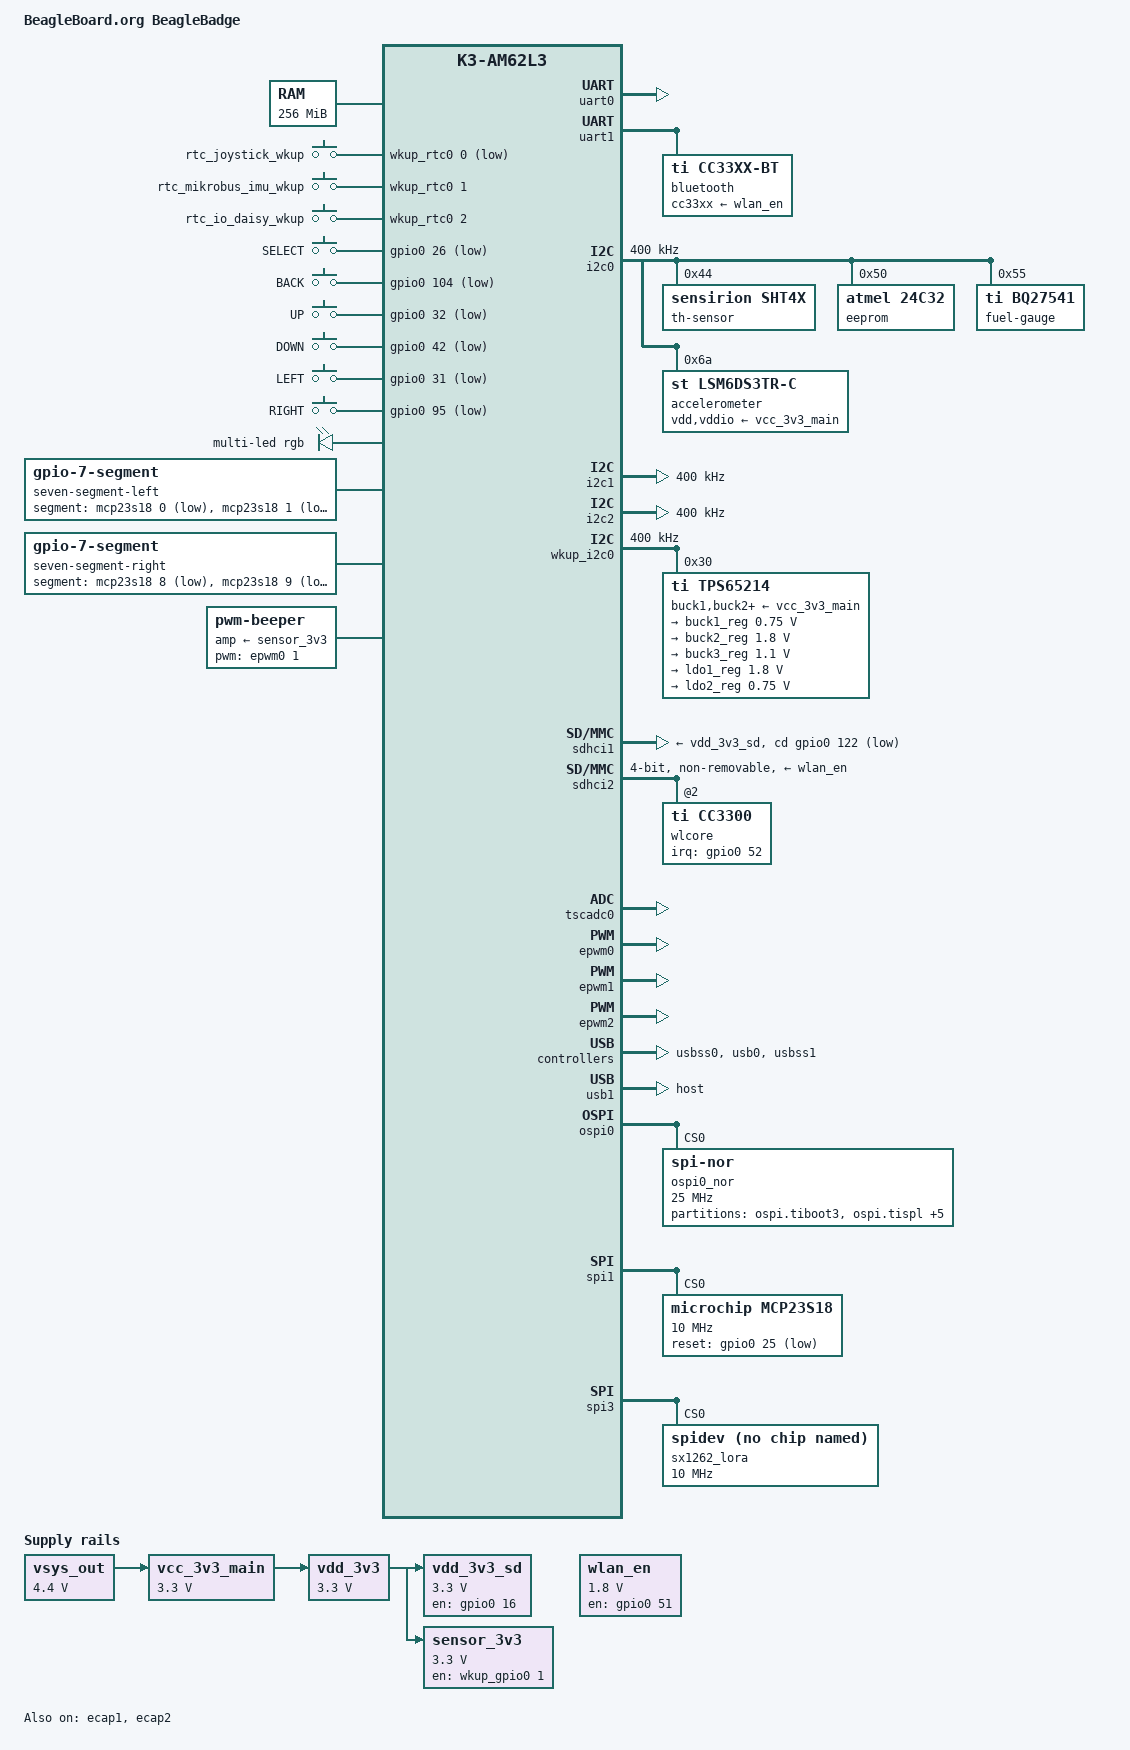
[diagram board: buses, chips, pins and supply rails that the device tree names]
// SPDX-License-Identifier: GPL-2.0-only or MIT
/*
 * https://www.beagleboard.org/boards/beaglebadge
 *
 * Copyright (C) 2026 Texas Instruments Incorporated - https://www.ti.com/
 */

/dts-v1/;

#include <dt-bindings/gpio/gpio.h>
#include <dt-bindings/input/input.h>
#include <dt-bindings/leds/common.h>
#include "k3-am62l3.dtsi"
#include "k3-pinctrl.h"

/ {
	compatible = "beagle,am62l3-beaglebadge", "ti,am62l3";
	model = "BeagleBoard.org BeagleBadge";

	chosen {
		stdout-path = "serial0:115200n8";
	};

	aliases {
		i2c0 = &i2c0;
		i2c1 = &i2c1;
		i2c2 = &i2c2;
		i2c4 = &wkup_i2c0;
		mmc1 = &sdhci1;
		serial0 = &uart0;
		serial1 = &uart1;
	};

	memory@80000000 {
		/* 256MB */
		reg = <0x00000000 0x80000000 0x00000000 0x10000000>;
		device_type = "memory";
		bootph-all;
	};

	thermal-zones {
		wkup0-thermal {
			polling-delay-passive = <250>;	/* milliSeconds */
			polling-delay = <500>;		/* milliSeconds */
			thermal-sensors = <&vtm0 0>;

			trips {
				crit0 {
					temperature = <125000>;
					hysteresis = <2000>;
					type = "critical";
				};
			};
		};
	};

	/* RTC GPIO 0 - Connected to joystick */
	rtc_gpio0 {
		compatible = "gpio-keys";
		button-rtc0 {
			label = "rtc_joystick_wkup";
			wakeup-source;
			linux,code = <KEY_WAKEUP>;
			gpios = <&wkup_rtc0 0 GPIO_ACTIVE_LOW>;
		};
	};

	/* RTC GPIO 1 - Connected to Mikrobus and IMU sensor */
	rtc_gpio1 {
		compatible = "gpio-keys";
		button-rtc1 {
			label = "rtc_mikrobus_imu_wkup";
			wakeup-source;
			linux,code = <KEY_WAKEUP>;
			gpios = <&wkup_rtc0 1 GPIO_ACTIVE_HIGH>;
		};
	};

	/* RTC GPIO 2 - Connected to wkup io daisy chain */
	rtc_gpio2 {
		compatible = "gpio-keys";
		button-rtc2 {
			label = "rtc_io_daisy_wkup";
			wakeup-source;
			linux,code = <KEY_WAKEUP>;
			gpios = <&wkup_rtc0 2 GPIO_ACTIVE_HIGH>;
		};
	};

	gpio_keys: gpio-keys {
		compatible = "gpio-keys";
		autorepeat;

		button-select {
			label = "SELECT";
			linux,code = <KEY_SELECT>;
			gpios = <&gpio0 26 GPIO_ACTIVE_LOW>;
		};

		button-back {
			label = "BACK";
			linux,code = <KEY_BACK>;
			gpios = <&gpio0 104 GPIO_ACTIVE_LOW>;
		};

		button-up {
			label = "UP";
			linux,code = <KEY_UP>;
			gpios = <&gpio0 32 GPIO_ACTIVE_LOW>;
		};

		button-down {
			label = "DOWN";
			linux,code = <KEY_DOWN>;
			gpios = <&gpio0 42 GPIO_ACTIVE_LOW>;
		};

		button-left {
			label = "LEFT";
			linux,code = <KEY_LEFT>;
			gpios = <&gpio0 31 GPIO_ACTIVE_LOW>;
		};

		button-right {
			label = "RIGHT";
			linux,code = <KEY_RIGHT>;
			gpios = <&gpio0 95 GPIO_ACTIVE_LOW>;
		};
	};

	multicolor-led {
		compatible = "pwm-leds-multicolor";

		multi-led {
			color = <LED_COLOR_ID_RGB>;
			max-brightness = <255>;

			led-red {
				pwms = <&ecap2 0 10000000 0>;
				color = <LED_COLOR_ID_RED>;
			};

			led-green {
				pwms = <&ecap1 0 10000000 0>;
				color = <LED_COLOR_ID_GREEN>;
			};

			led-blue {
				pwms = <&epwm1 1 10000000 0>;
				color = <LED_COLOR_ID_BLUE>;
			};
		};
	};

	seven-segment-left {
		compatible = "gpio-7-segment";
		segment-gpios = <&mcp23s18 0 GPIO_ACTIVE_LOW>,
				<&mcp23s18 1 GPIO_ACTIVE_LOW>,
				<&mcp23s18 2 GPIO_ACTIVE_LOW>,
				<&mcp23s18 3 GPIO_ACTIVE_LOW>,
				<&mcp23s18 4 GPIO_ACTIVE_LOW>,
				<&mcp23s18 5 GPIO_ACTIVE_LOW>,
				<&mcp23s18 6 GPIO_ACTIVE_LOW>,
				<&mcp23s18 7 GPIO_ACTIVE_LOW>;
	};

	seven-segment-right {
		compatible = "gpio-7-segment";
		segment-gpios = <&mcp23s18 8 GPIO_ACTIVE_LOW>,
				<&mcp23s18 9 GPIO_ACTIVE_LOW>,
				<&mcp23s18 10 GPIO_ACTIVE_LOW>,
				<&mcp23s18 11 GPIO_ACTIVE_LOW>,
				<&mcp23s18 12 GPIO_ACTIVE_LOW>,
				<&mcp23s18 13 GPIO_ACTIVE_LOW>,
				<&mcp23s18 14 GPIO_ACTIVE_LOW>,
				<&mcp23s18 15 GPIO_ACTIVE_LOW>;
	};

	pwm-beeper {
		compatible = "pwm-beeper";
		pwms = <&epwm0 1 1000000 0>;
		amp-supply = <&sensor_3v3>;
	};

	vsys_out: regulator-0 {
		/* output of BQ24070 */
		compatible = "regulator-fixed";
		regulator-name = "VSYS_OUT";
		regulator-min-microvolt = <4400000>;
		regulator-max-microvolt = <4400000>;
		regulator-always-on;
		regulator-boot-on;
		bootph-all;
	};

	vcc_3v3_main: regulator-1 {
		/* output of TPS62A06 */
		compatible = "regulator-fixed";
		regulator-name = "VCC_3V3_MAIN";
		regulator-min-microvolt = <3300000>;
		regulator-max-microvolt = <3300000>;
		vin-supply = <&vsys_out>;
		regulator-always-on;
		regulator-boot-on;
		bootph-all;
	};

	vdd_3v3: regulator-2 {
		/* output of TPS22965 */
		compatible = "regulator-fixed";
		regulator-name = "VDD_3V3";
		regulator-min-microvolt = <3300000>;
		regulator-max-microvolt = <3300000>;
		vin-supply = <&vcc_3v3_main>;
		regulator-always-on;
		regulator-boot-on;
		bootph-all;
	};

	vdd_3v3_sd: regulator-3 {
		/* TPS22918DBVR */
		compatible = "regulator-fixed";
		regulator-name = "VDD_3V3_SD";
		regulator-min-microvolt = <3300000>;
		regulator-max-microvolt = <3300000>;
		vin-supply = <&vdd_3v3>;
		regulator-boot-on;
		enable-active-high;
		gpios = <&gpio0 16 GPIO_ACTIVE_HIGH>;
		pinctrl-names = "default";
		pinctrl-0 = <&vdd_3v3_sd_ena_pins_default>;
		bootph-all;
	};

	sensor_3v3: regulator-4 {
		/* TPS22918DBVR */
		compatible = "regulator-fixed";
		regulator-name = "Sensor_3V3";
		regulator-min-microvolt = <3300000>;
		regulator-max-microvolt = <3300000>;
		vin-supply = <&vdd_3v3>;
		regulator-boot-on;
		enable-active-high;
		gpios = <&wkup_gpio0 1 GPIO_ACTIVE_HIGH>;
		pinctrl-names = "default";
		pinctrl-0 = <&sensor_3v3_ena_pins_default>;
		bootph-all;
	};

	wlan_en: regulator-5 {
		compatible = "regulator-fixed";
		regulator-name = "wlan_en";
		regulator-min-microvolt = <1800000>;
		regulator-max-microvolt = <1800000>;
		enable-active-high;
		gpios = <&gpio0 51 GPIO_ACTIVE_HIGH>;
		pinctrl-names = "default";
		pinctrl-0 = <&wlan_en_pins_default>;
	};
};

&pmx0 {
	uart0_pins_default: uart0-default-pins {
		pinctrl-single,pins = <
			AM62LX_IOPAD(0x01b8, PIN_OUTPUT, 0) /* (C13) UART0_TXD */
			AM62LX_IOPAD(0x01b4, PIN_INPUT, 0) /* (D13) UART0_RXD */
		>;
		bootph-all;
	};

	uart0_pins_wakeup: uart0-wakeup-pins {
		pinctrl-single,pins = <
			AM62LX_IOPAD(0x01b8, PIN_OUTPUT, 0) /* (C13) UART0_TXD */
			AM62LX_IOPAD(0x01b4, PIN_INPUT | PIN_WKUP_EN, 0) /* (D13) UART0_RXD */
		>;
		bootph-all;
	};

	uart1_pins_default: uart1-default-pins {
		pinctrl-single,pins = <
			AM62LX_IOPAD(0x019c, PIN_OUTPUT, 2) /* (A12) MCASP0_ACLKR.UART1_TXD */
			AM62LX_IOPAD(0x0198, PIN_INPUT, 2) /* (C11) MCASP0_AFSR.UART1_RXD */
			AM62LX_IOPAD(0x0180, PIN_INPUT, 2) /* (A8) MCASP0_AXR3.UART1_CTSn */
			AM62LX_IOPAD(0x0184, PIN_OUTPUT, 2) /* (B10) MCASP0_AXR2.UART1_RTSn */
		>;
		bootph-all;
	};

	usr_button_pins_default: usr-button-default-pins {
		pinctrl-single,pins = <
			AM62LX_IOPAD(0x00a4, PIN_INPUT, 7) /* (H18) GPMC0_AD11.GPIO0_26 */
			AM62LX_IOPAD(0x01e4, PIN_INPUT, 7) /* (D16) EXT_REFCLK1.GPIO0_104 */
			AM62LX_IOPAD(0x00c0, PIN_INPUT, 7) /* (N19) GPMC0_ADVn_ALE.GPIO0_32 */
			AM62LX_IOPAD(0x00e8, PIN_INPUT, 7) /* (L19) GPMC0_CSn1.GPIO0_42 */
			AM62LX_IOPAD(0x00b8, PIN_INPUT, 7) /* (L21) GPMC0_CLK.GPIO0_31 */
			AM62LX_IOPAD(0x01c0, PIN_INPUT, 7) /* (B13) UART0_RTSn.GPIO0_95 */
		>;
		bootph-all;
	};

	i2c0_pins_default: i2c0-default-pins {
		pinctrl-single,pins = <
			AM62LX_IOPAD(0x01cc, PIN_INPUT_PULLUP, 0) /* (B7) I2C0_SCL */
			AM62LX_IOPAD(0x01d0, PIN_INPUT_PULLUP, 0) /* (A7) I2C0_SDA */
		>;
		bootph-all;
	};

	i2c1_pins_default: i2c1-default-pins {
		pinctrl-single,pins = <
			AM62LX_IOPAD(0x01d4, PIN_INPUT_PULLUP, 0) /* (D7) I2C1_SCL */
			AM62LX_IOPAD(0x01d8, PIN_INPUT_PULLUP, 0) /* (A6) I2C1_SDA */
		>;
		bootph-all;
	};

	i2c2_qwiic_pins_default: i2c2-qwiic-default-pins {
		pinctrl-single,pins = <
			AM62LX_IOPAD(0x01dc, PIN_INPUT_PULLUP, 0) /* (B8) I2C2_SCL */
			AM62LX_IOPAD(0x01e0, PIN_INPUT_PULLUP, 0) /* (D8) I2C2_SDA */
		>;
		bootph-all;
	};

	vdd_3v3_sd_ena_pins_default: vdd-3v3-sd-ena-default-pins {
		pinctrl-single,pins = <
			AM62LX_IOPAD(0x07c, PIN_OUTPUT, 7) /* (L23) GPMC0_AD1.GPIO0_16 */
		>;
		bootph-all;
	};

	sensor_3v3_ena_pins_default: sensor-3v3-ena-default-pins {
		pinctrl-single,pins = <
			AM62LX_IOPAD(0x004, PIN_OUTPUT, 7) /* (AA23) WKUP_UART0_TXD.WKUP_GPIO0_1 */
		>;
		bootph-all;
	};

	mmc1_pins_default: mmc1-default-pins {
		pinctrl-single,pins = <
			AM62LX_IOPAD(0x0230, PIN_INPUT, 0) /* (Y3) MMC1_CMD */
			AM62LX_IOPAD(0x0228, PIN_OUTPUT, 0) /* (Y2) MMC1_CLK */
			AM62LX_IOPAD(0x0224, PIN_INPUT, 0) /* (AA1) MMC1_DAT0 */
			AM62LX_IOPAD(0x0220, PIN_INPUT, 0) /* (Y4) MMC1_DAT1 */
			AM62LX_IOPAD(0x021c, PIN_INPUT, 0) /* (AA2) MMC1_DAT2 */
			AM62LX_IOPAD(0x0218, PIN_INPUT, 0) /* (AB2) MMC1_DAT3 */
			AM62LX_IOPAD(0x0234, PIN_INPUT, 7) /* (B6) MMC1_SDCD.GPIO0_122 */
		>;
		bootph-all;
	};

	mmc2_pins_default: mmc2-default-pins {
		pinctrl-single,pins = <
			AM62LX_IOPAD(0x010c, PIN_INPUT, 0) /* (U23) MMC2_CMD */
			AM62LX_IOPAD(0x0104, PIN_OUTPUT, 0) /* (R23) MMC2_CLK */
			AM62LX_IOPAD(0x0108, PIN_INPUT, 0) /* () MMC2_CLKLB */
			AM62LX_IOPAD(0x0100, PIN_INPUT, 0) /* (U22) MMC2_DAT0 */
			AM62LX_IOPAD(0x00fc, PIN_INPUT, 0) /* (T22) MMC2_DAT1 */
			AM62LX_IOPAD(0x00f8, PIN_INPUT, 0) /* (T23) MMC2_DAT2 */
			AM62LX_IOPAD(0x00f4, PIN_INPUT, 0) /* (R22) MMC2_DAT3 */
		>;
	};

	wlan_en_pins_default: wlan-en-default-pins {
		pinctrl-single,pins = <
			AM62LX_IOPAD(0x0110, PIN_OUTPUT, 7) /* (T20) MMC2_SDCD.GPIO0_51 */
		>;
	};

	wlirq_pins_default: wlirq-default-pins {
		pinctrl-single,pins = <
			AM62LX_IOPAD(0x0114, PIN_INPUT, 7) /* (T21) MMC2_SDWP.GPIO0_52 */
		>;
	};

	usb1_pins_default: usb1-default-pins {
		pinctrl-single,pins = <
			AM62LX_IOPAD(0x0248, PIN_INPUT | PIN_DS_PULLUD_ENABLE |
				PIN_DS_PULL_UP, 0) /* (A5) USB1_DRVVBUS */
		>;
		bootph-all;
	};

	pwm_beeper_pins_default: pwm-beeper-default-pins {
		pinctrl-single,pins = <
			AM62LX_IOPAD(0x00b0, PIN_OUTPUT, 4) /* (F22) GPMC0_AD14.EHRPWM0_B */
		>;
	};

	pmic_irq_pins_default: pmic-irq-default-pins {
		pinctrl-single,pins = <
			AM62LX_IOPAD(0x01e8, PIN_INPUT, 0) /* (C8) EXTINTn */
		>;
		bootph-all;
	};

	wkup_i2c0_pins_default: wkup-i2c0-default-pins {
		pinctrl-single,pins = <
			AM62LX_IOPAD(0x0010, PIN_INPUT_PULLUP, 0) /* (AB22) WKUP_I2C0_SCL */
			AM62LX_IOPAD(0x0014, PIN_INPUT_PULLUP, 0) /* (AA22) WKUP_I2C0_SDA */
		>;
		bootph-all;
	};

	rgb_led_ecap2_pins_default: rgb-led-ecap2-default-pins {
		pinctrl-single,pins = <
			AM62LX_IOPAD(0x0190, PIN_OUTPUT, 2) /* (A11) MCASP0_ACLKX.ECAP2_IN_APWM_OUT */
		>;
	};

	rgb_led_ecap1_pins_default: rgb-led-ecap1-default-pins {
		pinctrl-single,pins = <
			AM62LX_IOPAD(0x0188, PIN_OUTPUT, 2) /* (A9) MCASP0_AXR1.ECAP1_IN_APWM_OUT */
		>;
	};

	rgb_led_epwm1_pins_default: rgb-led-epwm1-default-pins {
		pinctrl-single,pins = <
			AM62LX_IOPAD(0x018c, PIN_OUTPUT, 5) /* (B9) MCASP0_AXR0.EHRPWM1_B */
		>;
	};

	ospi0_pins_default: ospi0-default-pins {
		bootph-all;
		pinctrl-single,pins = <
			AM62LX_IOPAD(0x003c, PIN_OUTPUT, 0) /* (D22) OSPI0_CLK */
			AM62LX_IOPAD(0x0068, PIN_OUTPUT, 0) /* (C20) OSPI0_CSn0 */
			AM62LX_IOPAD(0x0074, PIN_OUTPUT, 0) /* (C23) OSPI0_CSn3 */
			AM62LX_IOPAD(0x0048, PIN_INPUT, 0) /* (C22) OSPI0_D0 */
			AM62LX_IOPAD(0x004c, PIN_INPUT, 0) /* (D21) OSPI0_D1 */
			AM62LX_IOPAD(0x0050, PIN_INPUT, 0) /* (E23) OSPI0_D2 */
			AM62LX_IOPAD(0x0054, PIN_INPUT, 0) /* (D23) OSPI0_D3 */
			AM62LX_IOPAD(0x0058, PIN_INPUT, 0) /* (F21) OSPI0_D4 */
			AM62LX_IOPAD(0x005c, PIN_INPUT, 0) /* (F19) OSPI0_D5 */
			AM62LX_IOPAD(0x0060, PIN_INPUT, 0) /* (G20) OSPI0_D6 */
			AM62LX_IOPAD(0x0064, PIN_INPUT, 0) /* (F20) OSPI0_D7 */
			AM62LX_IOPAD(0x0044, PIN_INPUT, 0) /* (E22) OSPI0_DQS */
			AM62LX_IOPAD(0x0040, PIN_INPUT, 0) /* (E18) OSPI0_LBCLKO */
		>;
	};

	spi1_pins_default: spi1-default-pins {
		pinctrl-single,pins = <
			AM62LX_IOPAD(0x008c, PIN_OUTPUT, 4) /* (H22) GPMC0_AD5.SPI1_CLK */
			AM62LX_IOPAD(0x0088, PIN_OUTPUT, 4) /* (K23) GPMC0_AD4.SPI1_CS0 */
			AM62LX_IOPAD(0x0080, PIN_INPUT, 4) /* (K22) GPMC0_AD2.SPI1_D0 */
			AM62LX_IOPAD(0x0084, PIN_OUTPUT, 4) /* (J23) GPMC0_AD3.SPI1_D1 */
		>;
		bootph-all;
	};

	spi3_pins_default: spi3-default-pins {
		pinctrl-single,pins = <
			AM62LX_IOPAD(0x00d0, PIN_OUTPUT, 5) /* (P22) GPMC0_BE1n.SPI3_CLK */
			AM62LX_IOPAD(0x00cc, PIN_OUTPUT, 5) /* (P23) GPMC0_BE0n_CLE.SPI3_CS0 */
			AM62LX_IOPAD(0x00d4, PIN_INPUT, 5) /* (N23) GPMC0_WAIT0.SPI3_D0 */
			AM62LX_IOPAD(0x00d8, PIN_OUTPUT, 5) /* (N22) GPMC0_WAIT1.SPI3_D1 */
		>;
	};

	mcp23s18_reset_pins_default: mcp23s18-reset-default-pins {
		pinctrl-single,pins = <
			AM62LX_IOPAD(0x00a0, PIN_OUTPUT, 7) /* (H21) GPMC0_AD10.GPIO0_25 */
		>;
	};

	epwm2_pins_default: epwm2-default-pins {
		pinctrl-single,pins = <
			AM62LX_IOPAD(0x00c4, PIN_OUTPUT, 4) /* (N20) GPMC0_OEn_REn.EHRPWM2_A */
		>;
	};

	lora_control_pins_default: lora-control-default-pins {
		pinctrl-single,pins = <
			AM62LX_IOPAD(0x00c8, PIN_OUTPUT, 7) /* (M19) GPMC0_WEn.GPIO0_34 */
			AM62LX_IOPAD(0x00e4, PIN_OUTPUT, 7) /* (L20) GPMC0_CSn0.GPIO0_41 */
			AM62LX_IOPAD(0x01a4, PIN_INPUT, 7) /* (D11) SPI0_CS1.GPIO0_88 */
			AM62LX_IOPAD(0x01bc, PIN_INPUT, 7) /* (B14) UART0_CTSn.GPIO0_94 */
		>;
		bootph-all;
	};

	gpio0_pins_default: gpio0-default-pins {
		pinctrl-single,pins = <
			AM62LX_IOPAD(0x0078, PIN_OUTPUT, 7) /* (L22) GPMC0_AD0.GPIO0_15 */
			AM62LX_IOPAD(0x00e0, PIN_INPUT, 7) /* (M21) GPMC0_DIR.GPIO0_40 */
			AM62LX_IOPAD(0x00ec, PIN_OUTPUT, 7) /* (M23) GPMC0_CSn2.GPIO0_43 */
			AM62LX_IOPAD(0x00f0, PIN_INPUT, 7) /* (M22) GPMC0_CSn3.GPIO0_44 */
			AM62LX_IOPAD(0x0194, PIN_OUTPUT, 7) /* (B11) MCASP0_AFSX.GPIO0_84 */
		>;
		bootph-all;
	};
};

&uart0 {
	wakeup-source;
	pinctrl-0 = <&uart0_pins_default>;
	pinctrl-1 = <&uart0_pins_wakeup>;
	pinctrl-names = "default", "wakeup";
	bootph-all;
	status = "okay";
};

&uart1 {
	pinctrl-names = "default";
	pinctrl-0 = <&uart1_pins_default>;
	bootph-all;
	status = "okay";

	bluetooth {
		compatible = "ti,cc33xx-bt";
		max-speed = <115200>;
		cc33xx-supply = <&wlan_en>;
	};
};

&i2c0 {
	clock-frequency = <400000>;
	pinctrl-names = "default";
	pinctrl-0 = <&i2c0_pins_default>;
	bootph-all;
	status = "okay";

	/* T&H Sensor */
	th-sensor@44 {
		compatible = "sensirion,sht4x";
		reg = <0x44>;
	};

	/* EEPROM */
	eeprom@50 {
		/* FT24C32A-ELRT */
		compatible = "atmel,24c32";
		reg = <0x50>;
	};

	/* Fuel Gauge */
	fuel-gauge@55 {
		compatible = "ti,bq27541";
		reg = <0x55>;
	};

	/* IMU Sensor */
	accelerometer@6a {
		compatible = "st,lsm6ds3tr-c";
		reg = <0x6a>;
		vdd-supply = <&vcc_3v3_main>;
		vddio-supply = <&vcc_3v3_main>;
	};
};

&i2c1 {
	clock-frequency = <400000>;
	pinctrl-names = "default";
	pinctrl-0 = <&i2c1_pins_default>;
	bootph-all;
	status = "okay";
};

&i2c2 {
	clock-frequency = <400000>;
	pinctrl-names = "default";
	pinctrl-0 = <&i2c2_qwiic_pins_default>;
	bootph-all;
	status = "okay";
};

&wkup_i2c0 {
	clock-frequency = <400000>;
	pinctrl-names = "default";
	pinctrl-0 = <&wkup_i2c0_pins_default>;
	bootph-all;
	status = "okay";

	tps65214: pmic@30 {
		compatible = "ti,tps65214";
		reg = <0x30>;
		interrupt-parent = <&gic500>;
		interrupts = <GIC_SPI 224 IRQ_TYPE_LEVEL_HIGH>;
		buck1-supply = <&vcc_3v3_main>;
		buck2-supply = <&vcc_3v3_main>;
		buck3-supply = <&vcc_3v3_main>;
		ldo1-supply = <&vcc_3v3_main>;
		ldo2-supply = <&vcc_3v3_main>;
		pinctrl-names = "default";
		pinctrl-0 = <&pmic_irq_pins_default>;
		ti,power-button;
		bootph-all;

		regulators {
			buck1_reg: buck1 {
				regulator-name = "VDD_CORE";
				regulator-min-microvolt = <750000>;
				regulator-max-microvolt = <750000>;
				regulator-always-on;
				regulator-boot-on;
			};

			buck2_reg: buck2 {
				regulator-name = "VDD_1V8";
				regulator-min-microvolt = <1800000>;
				regulator-max-microvolt = <1800000>;
				regulator-always-on;
				regulator-boot-on;
			};

			buck3_reg: buck3 {
				regulator-name = "VDD_LPDDR4";
				regulator-min-microvolt = <1100000>;
				regulator-max-microvolt = <1100000>;
				regulator-always-on;
				regulator-boot-on;
			};

			ldo1_reg: ldo1 {
				regulator-name = "VDDA_1V8";
				regulator-min-microvolt = <1800000>;
				regulator-max-microvolt = <1800000>;
				regulator-always-on;
				regulator-boot-on;
			};

			ldo2_reg: ldo2 {
				regulator-name = "PMIC_VDD_RTC";
				regulator-min-microvolt = <750000>;
				regulator-max-microvolt = <750000>;
				regulator-always-on;
				regulator-boot-on;
			};
		};
	};
};

&gpio0 {
	gpio-line-names = "","","","","","","","","","",	/* 0-9 */
			 "","","","","","BOOST_5V_ENA","VDD_3V3_SD_ENA","","","",	/* 10-19 */
			 "","","","","","MCP23S18_RESET","BTN_SELECT","","","",	/* 20-29 */
			 "","BTN_LEFT","BTN_UP","","LORA_RESET","","","","","",	/* 30-39 */
			 "GAUGE_BATLOW","LORA_RFSW","BTN_DOWN","USB_RST","MBUS_INT","","","","","",	/* 40-49 */
			 "","WLAN_EN","","","","","","","","",	/* 50-59 */
			 "","","","","","","","","","",	/* 60-69 */
			 "","","","","","","","","","",	/* 70-79 */
			 "","","","","MBUS_RST","","","","LORA_BUSY","",	/* 80-89 */
			 "","","","","LORA_DIO","BTN_RIGHT","","","","",	/* 90-99 */
			 "","","","","BTN_BACK","","","","","",	/* 100-109 */
			 "","","","","","","","","","",	/* 110-119 */
			 "","","SD_CD","","","";	/* 120-125 */
	pinctrl-names = "default";
	pinctrl-0 = <&gpio0_pins_default>, <&usr_button_pins_default>, <&lora_control_pins_default>;
	bootph-all;
	status = "okay";
};

&wkup_gpio0 {
	gpio-line-names = "","SENSOR_3V3_ENA","","","","","","";	/* 0-7 */
	bootph-all;
	status = "okay";
};

&sdhci1 {
	/* SD/MMC */
	vmmc-supply = <&vdd_3v3_sd>;
	disable-wp;
	cd-gpios = <&gpio0 122 GPIO_ACTIVE_LOW>;
	cd-debounce-delay-ms = <100>;
	ti,fails-without-test-cd;
	pinctrl-names = "default";
	pinctrl-0 = <&mmc1_pins_default>;
	bootph-all;
	status = "okay";
};

&sdhci2 {
	#address-cells = <1>;
	#size-cells = <0>;
	vmmc-supply = <&wlan_en>;
	bus-width = <4>;
	non-removable;
	cap-power-off-card;
	keep-power-in-suspend;
	pinctrl-names = "default";
	pinctrl-0 = <&mmc2_pins_default>;
	ti,driver-strength-ohm = <50>;
	status = "okay";

	wlcore: wlcore@2 {
		compatible = "ti,cc3300";
		reg = <2>;
		interrupt-parent = <&gpio0>;
		interrupts = <52 IRQ_TYPE_EDGE_RISING>;
		pinctrl-names = "default";
		pinctrl-0 = <&wlirq_pins_default>;
	};
};

&tscadc0 {
	status = "okay";

	adc {
	ti,adc-channels = <0 /* V20 (Battery) */
			   1 /* V22 (MikroBus) */
			   2 /* V23 (Light Sensor) */
			   3 /* V21 (J28 Header) */
			   >;
	};
};

&epwm0 {
	pinctrl-names = "default";
	pinctrl-0 = <&pwm_beeper_pins_default>;
	status = "okay";
};

&epwm1 {
	pinctrl-names = "default";
	pinctrl-0 = <&rgb_led_epwm1_pins_default>;
	status = "okay";
};

&epwm2 {
	pinctrl-names = "default";
	pinctrl-0 = <&epwm2_pins_default>;
	status = "okay";
};

&ecap1 {
	pinctrl-names = "default";
	pinctrl-0 = <&rgb_led_ecap1_pins_default>;
	status = "okay";
};

&ecap2 {
	pinctrl-names = "default";
	pinctrl-0 = <&rgb_led_ecap2_pins_default>;
	status = "okay";
};

&usbss0 {
	ti,vbus-divider;
	status = "okay";
};

&usb0 {
	usb-role-switch;
	bootph-all;
	status = "okay";
};

&usbss1 {
	ti,vbus-divider;
	bootph-all;
	status = "okay";
};

&usb1 {
	dr_mode = "host";
	pinctrl-names = "default";
	pinctrl-0 = <&usb1_pins_default>;
	bootph-all;
	status = "okay";
};

&ospi0 {
	pinctrl-names = "default";
	pinctrl-0 = <&ospi0_pins_default>;
	bootph-all;
	status = "okay";

	ospi0_nor: flash@0 {
		compatible = "jedec,spi-nor";
		reg = <0x0>;
		spi-tx-bus-width = <8>;
		spi-rx-bus-width = <8>;
		spi-max-frequency = <25000000>;
		cdns,tshsl-ns = <60>;
		cdns,tsd2d-ns = <60>;
		cdns,tchsh-ns = <60>;
		cdns,tslch-ns = <60>;
		cdns,read-delay = <4>;
		cdns,phy-mode;
		bootph-all;

		partitions {
			compatible = "fixed-partitions";
			#address-cells = <1>;
			#size-cells = <1>;
			bootph-all;

			partition@0 {
				label = "ospi.tiboot3";
				reg = <0x0 0x80000>;
			};

			partition@80000 {
				label = "ospi.tispl";
				reg = <0x80000 0x200000>;
			};

			partition@280000 {
				label = "ospi.u-boot";
				reg = <0x280000 0x400000>;
			};

			partition@680000 {
				label = "ospi.env";
				reg = <0x680000 0x40000>;
			};

			partition@6c0000 {
				label = "ospi.env.backup";
				reg = <0x6c0000 0x40000>;
			};

			partition@800000 {
				label = "ospi.rootfs";
				/* Limited to 20 MB */
				reg = <0x700000 0x18c0000>;
			};

			partition@3fc0000 {
				bootph-all;
				label = "ospi.phypattern";
				reg = <0x1fc0000 0x40000>;
			};
		};
	};
};

&spi1 {
	pinctrl-names = "default";
	pinctrl-0 = <&spi1_pins_default>;
	status = "okay";

	mcp23s18: gpio@0 {
		compatible = "microchip,mcp23s18";
		reg = <0>;
		spi-max-frequency = <10000000>;
		gpio-controller;
		#gpio-cells = <2>;
		reset-gpios = <&gpio0 25 GPIO_ACTIVE_LOW>;
		pinctrl-names = "default";
		pinctrl-0 = <&mcp23s18_reset_pins_default>;
		microchip,spi-present-mask = /bits/ 8 <0x01>;
	};
};

&spi3 {
	pinctrl-names = "default";
	pinctrl-0 = <&spi3_pins_default>;
	status = "okay";

	sx1262_lora: lora@0 {
		compatible = "rohm,dh2228fv";
		reg = <0>;
		spi-max-frequency = <10000000>;
	};
};
